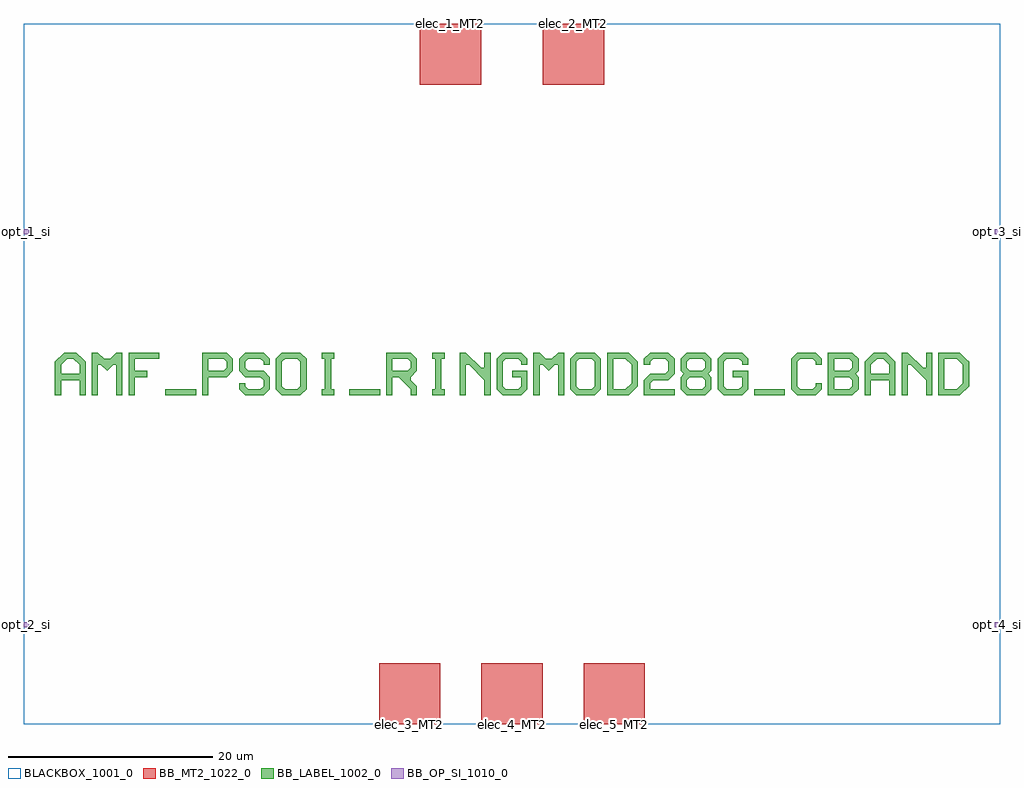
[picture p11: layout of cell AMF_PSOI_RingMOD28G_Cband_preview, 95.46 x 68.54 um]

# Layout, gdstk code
import gdstk
lib = gdstk.Library(unit=1e-6, precision=1e-09)
def R(c, l, rs):  # rectangles x0, y0, x1, y1
    for r in rs: c.add(gdstk.rectangle(r[:2], r[2:], *l))
def A(c, l, x, y, w, h, nx, ny, dx, dy):  # array of equal rectangles
    R(c, l, [(x+i*dx, y+j*dy, x+i*dx+w, y+j*dy+h) for i in range(nx) for j in range(ny)])
def P(c, l, *ps):  # polygons
    for p in ps: c.add(gdstk.Polygon(p, *l))
BLACKBOX_1001_0 = (1001, 0)
BB_LABEL_1002_0 = (1002, 0)
BB_OP_SI_1010_0 = (1010, 0)
BB_MT2_1022_0 = (1022, 0)

amf_psoi_ringmod28g_cban = lib.new_cell('AMF_PSOI_RingMOD28G_Cband_preview')
R(amf_psoi_ringmod28g_cban, BLACKBOX_1001_0, [(0,-28.959,95.461,39.585)])
P(amf_psoi_ringmod28g_cban, BLACKBOX_1001_0, [(35.659,-28.775),(35.659,-28.775),(35.659,-28.775),(35.659,-28.775)])
R(amf_psoi_ringmod28g_cban, BB_LABEL_1002_0, [(13.831,3.213,16.831,3.813), (31.831,3.213,34.831,3.813), (71.431,3.213,74.431,3.813)])
P(amf_psoi_ringmod28g_cban, BB_LABEL_1002_0, [(3.031,3.213),(3.031,6.513),(3.931,7.413),(5.131,7.413),(5.731,6.813),(4.231,6.813),(3.631,6.213),(3.631,5.313),(5.431,5.313),(5.431,6.213),(4.831,6.813),(5.731,6.813),(6.031,6.513),(6.031,3.213),(5.431,3.213),(5.431,4.713),(3.631,4.713),(3.631,3.213)],
  [(6.631,3.213),(6.631,7.413),(7.231,7.413),(7.831,6.813),(8.431,6.813),(9.031,7.413),(9.631,7.413),(9.631,3.213),(9.031,3.213),(9.031,6.213),(8.731,6.213),(8.131,5.613),(7.531,6.213),(7.231,6.213),(7.231,3.213)],
  [(10.231,3.213),(10.231,7.413),(13.231,7.413),(13.231,6.813),(10.831,6.813),(10.831,5.613),(12.031,5.613),(12.031,5.013),(10.831,5.013),(10.831,3.213)],
  [(17.431,3.213),(17.431,7.413),(19.831,7.413),(20.431,6.813),(20.431,5.613),(19.831,5.013),(18.031,5.013),(18.031,5.613),(19.531,5.613),(19.831,5.913),(19.831,6.513),(19.531,6.813),(18.031,6.813),(18.031,3.213)],
  [(21.631,3.213),(21.031,3.813),(21.031,4.413),(21.631,4.413),(21.631,4.113),(21.931,3.813),(23.131,3.813),(23.431,4.113),(23.431,4.713),(23.131,5.013),(21.631,5.013),(21.031,5.613),(21.031,6.813),(21.631,7.413),(23.431,7.413),(24.031,6.813),(24.031,6.213),(23.431,6.213),(23.431,6.513),(23.131,6.813),(21.931,6.813),(21.631,6.513),(21.631,5.913),(21.931,5.613),(23.431,5.613),(24.031,5.013),(24.031,3.813),(23.431,3.213)],
  [(25.231,3.213),(24.631,3.813),(24.631,6.813),(25.231,7.413),(27.031,7.413),(27.631,6.813),(27.631,5.313),(27.031,5.313),(27.031,6.513),(26.731,6.813),(25.531,6.813),(25.231,6.513),(25.231,4.113),(25.531,3.813),(26.731,3.813),(27.031,4.113),(27.031,5.313),(27.631,5.313),(27.631,3.813),(27.031,3.213)],
  [(29.131,3.213),(29.131,3.813),(29.431,3.813),(29.431,6.813),(29.131,6.813),(29.131,7.413),(30.331,7.413),(30.331,6.813),(30.031,6.813),(30.031,3.813),(30.331,3.813),(30.331,3.213)],
  [(35.431,3.213),(35.431,7.413),(37.831,7.413),(38.431,6.813),(36.031,6.813),(36.031,5.613),(37.531,5.613),(37.831,5.913),(37.831,6.513),(37.531,6.813),(38.431,6.813),(38.431,5.613),(37.831,5.013),(37.831,4.713),(38.431,4.113),(38.431,3.213),(37.831,3.213),(37.831,3.813),(36.631,5.013),(36.031,5.013),(36.031,3.213)],
  [(39.931,3.213),(39.931,3.813),(40.231,3.813),(40.231,6.813),(39.931,6.813),(39.931,7.413),(41.131,7.413),(41.131,6.813),(40.831,6.813),(40.831,3.813),(41.131,3.813),(41.131,3.213)],
  [(42.631,3.213),(42.631,7.413),(43.231,7.413),(44.731,5.913),(45.031,5.913),(45.031,7.413),(45.631,7.413),(45.631,3.213),(45.031,3.213),(45.031,4.713),(43.531,6.213),(43.231,6.213),(43.231,3.213)],
  [(46.831,3.213),(46.231,3.813),(46.231,6.813),(46.831,7.413),(48.631,7.413),(49.231,6.813),(49.231,6.213),(48.631,6.213),(48.631,6.513),(48.331,6.813),(47.131,6.813),(46.831,6.513),(46.831,4.113),(47.131,3.813),(48.331,3.813),(48.631,4.113),(48.631,5.013),(47.731,5.013),(47.731,5.613),(49.231,5.613),(49.231,3.813),(48.631,3.213)],
  [(49.831,3.213),(49.831,7.413),(50.431,7.413),(51.031,6.813),(51.631,6.813),(52.231,7.413),(52.831,7.413),(52.831,3.213),(52.231,3.213),(52.231,6.213),(51.931,6.213),(51.331,5.613),(50.731,6.213),(50.431,6.213),(50.431,3.213)],
  [(54.031,3.213),(53.431,3.813),(53.431,6.813),(54.031,7.413),(55.831,7.413),(56.431,6.813),(56.431,5.313),(55.831,5.313),(55.831,6.513),(55.531,6.813),(54.331,6.813),(54.031,6.513),(54.031,4.113),(54.331,3.813),(55.531,3.813),(55.831,4.113),(55.831,5.313),(56.431,5.313),(56.431,3.813),(55.831,3.213)],
  [(57.031,3.213),(57.031,7.413),(59.131,7.413),(59.731,6.813),(57.631,6.813),(57.631,3.813),(58.831,3.813),(59.431,4.413),(59.431,6.213),(58.831,6.813),(59.731,6.813),(60.031,6.513),(60.031,4.113),(59.131,3.213)],
  [(60.631,3.213),(60.631,4.713),(61.231,5.313),(62.731,5.313),(63.031,5.613),(63.031,6.513),(62.731,6.813),(61.531,6.813),(61.231,6.513),(61.231,6.213),(60.631,6.213),(60.631,6.813),(61.231,7.413),(63.031,7.413),(63.631,6.813),(63.631,5.313),(63.031,4.713),(61.531,4.713),(61.231,4.413),(61.231,3.813),(63.631,3.813),(63.631,3.213)],
  [(64.831,3.213),(64.231,3.813),(64.231,5.013),(64.531,5.313),(64.231,5.613),(64.231,6.813),(64.831,7.413),(66.631,7.413),(67.231,6.813),(65.131,6.813),(64.831,6.513),(64.831,5.913),(65.131,5.613),(66.331,5.613),(66.631,5.913),(66.631,6.513),(66.331,6.813),(67.231,6.813),(67.231,5.613),(66.931,5.313),(67.231,5.013),(65.131,5.013),(64.831,4.713),(64.831,4.113),(65.131,3.813),(66.331,3.813),(66.631,4.113),(66.631,4.713),(66.331,5.013),(67.231,5.013),(67.231,3.813),(66.631,3.213)],
  [(68.431,3.213),(67.831,3.813),(67.831,6.813),(68.431,7.413),(70.231,7.413),(70.831,6.813),(70.831,6.213),(70.231,6.213),(70.231,6.513),(69.931,6.813),(68.731,6.813),(68.431,6.513),(68.431,4.113),(68.731,3.813),(69.931,3.813),(70.231,4.113),(70.231,5.013),(69.331,5.013),(69.331,5.613),(70.831,5.613),(70.831,3.813),(70.231,3.213)],
  [(75.631,3.213),(75.031,3.813),(75.031,6.813),(75.631,7.413),(77.431,7.413),(78.031,6.813),(78.031,6.213),(77.431,6.213),(77.431,6.513),(77.131,6.813),(75.931,6.813),(75.631,6.513),(75.631,4.113),(75.931,3.813),(77.131,3.813),(77.431,4.113),(77.431,4.413),(78.031,4.413),(78.031,3.813),(77.431,3.213)],
  [(78.631,3.213),(78.631,7.413),(81.031,7.413),(81.631,6.813),(79.231,6.813),(79.231,5.613),(80.731,5.613),(81.031,5.913),(81.031,6.513),(80.731,6.813),(81.631,6.813),(81.631,5.613),(81.331,5.313),(81.631,5.013),(79.231,5.013),(79.231,3.813),(80.731,3.813),(81.031,4.113),(81.031,4.713),(80.731,5.013),(81.631,5.013),(81.631,3.813),(81.031,3.213)],
  [(82.231,3.213),(82.231,6.513),(83.131,7.413),(84.331,7.413),(84.931,6.813),(83.431,6.813),(82.831,6.213),(82.831,5.313),(84.631,5.313),(84.631,6.213),(84.031,6.813),(84.931,6.813),(85.231,6.513),(85.231,3.213),(84.631,3.213),(84.631,4.713),(82.831,4.713),(82.831,3.213)],
  [(85.831,3.213),(85.831,7.413),(86.431,7.413),(87.931,5.913),(88.231,5.913),(88.231,7.413),(88.831,7.413),(88.831,3.213),(88.231,3.213),(88.231,4.713),(86.731,6.213),(86.431,6.213),(86.431,3.213)],
  [(89.431,3.213),(89.431,7.413),(91.531,7.413),(92.131,6.813),(90.031,6.813),(90.031,3.813),(91.231,3.813),(91.831,4.413),(91.831,6.213),(91.231,6.813),(92.131,6.813),(92.431,6.513),(92.431,4.113),(91.531,3.213)])
R(amf_psoi_ringmod28g_cban, BB_OP_SI_1010_0, [(0,-19.48,0.5,-18.98), (94.961,-19.48,95.461,-18.98), (0,18.98,0.5,19.48), (94.961,18.98,95.461,19.48)])
A(amf_psoi_ringmod28g_cban, BB_MT2_1022_0, 34.731, -28.959, 6, 6, 3, 1, 10, 0)
R(amf_psoi_ringmod28g_cban, BB_MT2_1022_0, [(38.731,33.585,44.731,39.585), (50.731,33.585,56.731,39.585)])
amf_psoi_ringmod28g_cban.add(gdstk.Label('opt_1_si', (0,19.23), layer=1010, texttype=0))
amf_psoi_ringmod28g_cban.add(gdstk.Label('opt_3_si', (95.461,19.23), layer=1010, texttype=0))
amf_psoi_ringmod28g_cban.add(gdstk.Label('opt_2_si', (0,-19.23), layer=1010, texttype=0))
amf_psoi_ringmod28g_cban.add(gdstk.Label('opt_4_si', (95.461,-19.23), layer=1010, texttype=0))
amf_psoi_ringmod28g_cban.add(gdstk.Label('elec_1_MT2', (41.731,39.585), layer=1022, texttype=0))
amf_psoi_ringmod28g_cban.add(gdstk.Label('elec_2_MT2', (53.731,39.585), layer=1022, texttype=0))
amf_psoi_ringmod28g_cban.add(gdstk.Label('elec_3_MT2', (37.731,-28.959), layer=1022, texttype=0))
amf_psoi_ringmod28g_cban.add(gdstk.Label('elec_4_MT2', (47.731,-28.959), layer=1022, texttype=0))
amf_psoi_ringmod28g_cban.add(gdstk.Label('elec_5_MT2', (57.731,-28.959), layer=1022, texttype=0))

lib.write_gds('AMF_PSOI_RingMOD28G_Cband_preview.gds')
